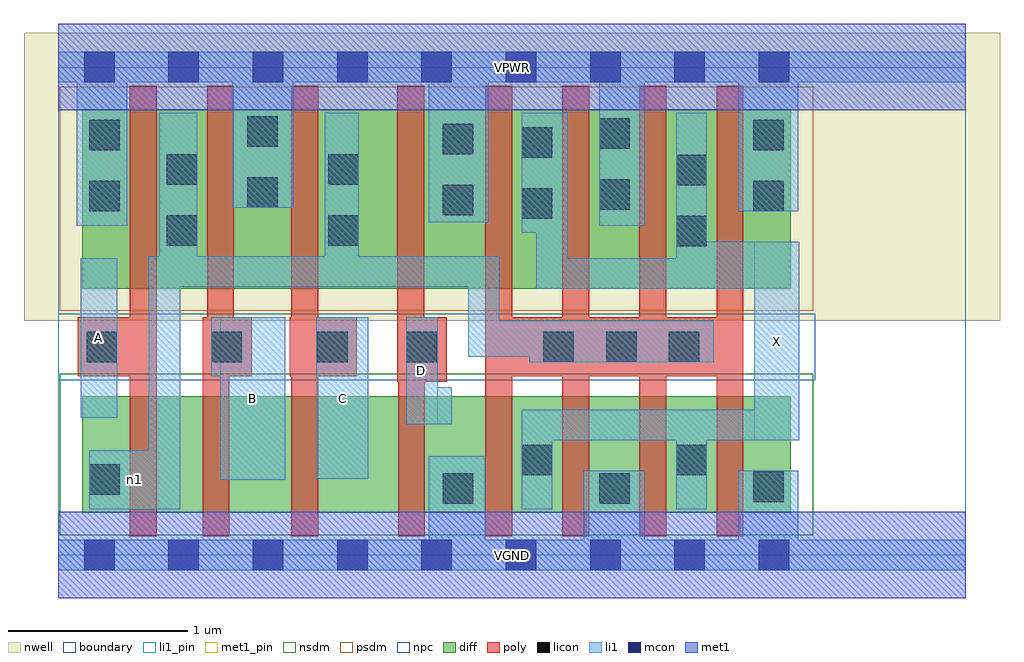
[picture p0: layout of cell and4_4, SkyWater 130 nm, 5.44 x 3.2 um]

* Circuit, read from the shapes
.subckt and4_4 A B C D VGND VPWR X n1
XM1 n2 A n1 VSUBS sky130_fd_pr__nfet_01v8 w=0.65 l=0.15
XM2 n3 B n2 VSUBS sky130_fd_pr__nfet_01v8 w=0.65 l=0.15
XM3 n4 C n3 VSUBS sky130_fd_pr__nfet_01v8 w=0.65 l=0.15
XM4 VGND D n4 VSUBS sky130_fd_pr__nfet_01v8 w=0.65 l=0.15
XM5 X n1 VGND VSUBS sky130_fd_pr__nfet_01v8 w=0.65 l=0.15 m=4
XM6 n1 A VPWR n5 sky130_fd_pr__pfet_01v8 w=1 l=0.15
XM7 VPWR B n1 n5 sky130_fd_pr__pfet_01v8 w=1 l=0.15
XM8 n1 C VPWR n5 sky130_fd_pr__pfet_01v8 w=1 l=0.15
XM9 VPWR D n1 n5 sky130_fd_pr__pfet_01v8 w=1 l=0.15
XM10 X n1 VPWR n5 sky130_fd_pr__pfet_01v8 w=1 l=0.15 m=4
.ends

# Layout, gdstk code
import gdstk
lib = gdstk.Library(unit=1e-6, precision=1e-09)
def R(c, l, rs):  # rectangles x0, y0, x1, y1
    for r in rs: c.add(gdstk.rectangle(r[:2], r[2:], *l))
def A(c, l, x, y, w, h, nx, ny, dx, dy):  # array of equal rectangles
    R(c, l, [(x+i*dx, y+j*dy, x+i*dx+w, y+j*dy+h) for i in range(nx) for j in range(ny)])
nwell = (64, 20)
diff = (65, 20)
poly = (66, 20)
licon = (66, 44)
li1_pin = (67, 16)
li1 = (67, 20)
mcon = (67, 44)
met1_pin = (68, 16)
met1 = (68, 20)
nsdm = (93, 44)
psdm = (94, 20)
npc = (95, 20)
boundary = (235, 4)

and4_4 = lib.new_cell('and4_4')
R(and4_4, nwell, [(-0.19,1.305,5.25,2.91), (0,1.305,5.06,2.91)])
R(and4_4, diff, [(0.135,0.235,4.085,0.885), (0.135,1.485,4.085,2.485)])
A(and4_4, poly, 2.38, 0.105, 0.15, 2.51, 4, 1, 0.43, 0)
R(and4_4, poly, [(0.4,0.105,0.55,2.615), (0.805,0.105,0.955,1.325), (1.3,0.105,1.45,2.615), (1.895,0.105,2.045,1.325), (1.89,0.965,2.04,2.615), (1.89,0.965,2.165,1.325), (0.11,0.995,0.55,1.325), (0.805,0.995,1.08,1.325), (0.83,0.995,0.98,2.615), (1.29,0.995,1.665,1.325), (2.38,0.995,3.82,1.325)])
A(and4_4, licon, 2.705, 1.075, 0.17, 0.17, 3, 1, 0.35, 0)
R(and4_4, licon, [(2.145,0.285,2.315,0.455), (3.015,0.285,3.185,0.455), (3.875,0.295,4.045,0.465), (0.175,0.335,0.345,0.505), (2.585,0.445,2.755,0.615), (3.445,0.445,3.615,0.615), (0.16,1.075,0.33,1.245), (0.855,1.075,1.025,1.245), (1.445,1.075,1.615,1.245), (1.94,1.075,2.11,1.245), (3.445,1.72,3.615,1.89), (0.605,1.725,0.775,1.895), (1.505,1.725,1.675,1.895), (2.585,1.875,2.755,2.045), (2.145,1.895,2.315,2.065), (0.175,1.915,0.345,2.085), (3.875,1.915,4.045,2.085), (3.015,1.925,3.185,2.095), (1.055,1.935,1.225,2.105), (3.445,2.06,3.615,2.23), (0.605,2.065,0.775,2.235), (1.505,2.065,1.675,2.235), (2.585,2.215,2.755,2.385), (2.145,2.235,2.315,2.405), (0.175,2.255,0.345,2.425), (3.875,2.255,4.045,2.425), (3.015,2.265,3.185,2.435), (1.055,2.275,1.225,2.445)])
R(and4_4, li1_pin, [(0.905,0.42,1.265,1.325), (1.44,0.425,1.73,1.325), (3.88,0.64,4.13,1.745), (1.94,0.73,2.115,1.325), (0.125,0.765,0.33,1.655)])
R(and4_4, li1, [(0,-0.085,5.06,0.085), (2.065,-0.085,2.38,0.55), (2.93,-0.085,3.27,0.47), (3.79,-0.085,4.125,0.47), (0.175,0.255,0.68,0.585), (0.505,0.255,0.68,1.665), (2.585,0.255,2.755,0.81), (3.445,0.255,3.615,0.81), (0.905,0.42,1.265,1.325), (1.44,0.425,1.73,1.325), (2.585,0.64,4.13,0.81), (3.88,0.64,4.13,1.745), (1.94,0.73,2.115,1.325), (1.94,0.73,2.195,0.935), (0.125,0.765,0.33,1.655), (0.855,0.995,1.265,1.325), (2.625,1.075,3.655,1.305), (2.285,1.105,3.655,1.305), (2.285,1.105,2.46,1.665), (2.665,1.485,4.13,1.655), (2.665,1.485,2.84,2.465), (3.445,1.485,3.615,2.465), (3.445,1.485,4.13,1.745), (0.505,1.495,2.46,1.665), (0.565,1.495,0.775,2.465), (1.485,1.495,1.675,2.465), (2.585,1.795,2.84,2.465), (0.105,1.835,0.385,2.805), (3.015,1.835,3.27,2.805), (2.065,1.855,2.4,2.805), (3.79,1.915,4.125,2.805), (0.97,1.935,1.31,2.805), (0,2.635,5.06,2.805)])
A(and4_4, mcon, 0.145, -0.085, 0.17, 0.17, 9, 2, 0.47, 2.72)
R(and4_4, met1_pin, [(0,-0.24,5.06,0.24), (0,2.48,5.06,2.96)])
R(and4_4, met1, [(0,-0.24,5.06,0.24), (0,2.48,5.06,2.96)])
R(and4_4, nsdm, [(0.01,0.11,4.21,1.01)])
R(and4_4, psdm, [(0.01,1.36,4.21,2.61)])
R(and4_4, npc, [(0,0.975,4.22,1.345)])
R(and4_4, boundary, [(0,0,5.06,2.72)])
and4_4.add(gdstk.Label('A', (0.227,1.21), layer=67, texttype=5))
and4_4.add(gdstk.Label('B', (1.085,0.872), layer=67, texttype=5))
and4_4.add(gdstk.Label('C', (1.585,0.875), layer=67, texttype=5))
and4_4.add(gdstk.Label('D', (2.027,1.027), layer=67, texttype=5))
and4_4.add(gdstk.Label('X', (4.005,1.192), layer=67, texttype=5))
and4_4.add(gdstk.Label('n1', (0.427,0.42), layer=67, texttype=5))
and4_4.add(gdstk.Label('VPWR', (2.53,2.72), layer=68, texttype=5))
and4_4.add(gdstk.Label('VGND', (2.53,0), layer=68, texttype=5))
and4_4.add(gdstk.Label('A', (0.227,1.21), layer=67, texttype=16))
and4_4.add(gdstk.Label('B', (1.085,0.872), layer=67, texttype=16))
and4_4.add(gdstk.Label('C', (1.585,0.875), layer=67, texttype=16))
and4_4.add(gdstk.Label('D', (2.027,1.027), layer=67, texttype=16))
and4_4.add(gdstk.Label('X', (4.005,1.192), layer=67, texttype=16))
and4_4.add(gdstk.Label('VPWR', (2.53,2.72), layer=68, texttype=16))
and4_4.add(gdstk.Label('VGND', (2.53,0), layer=68, texttype=16))

lib.write_gds('and4_4.gds')
